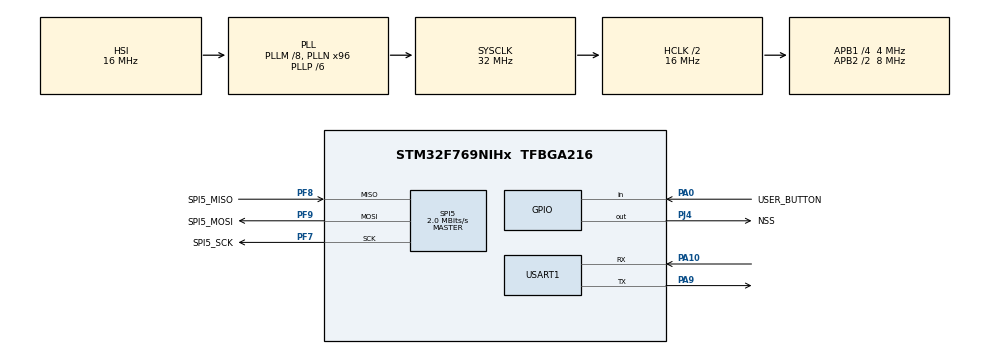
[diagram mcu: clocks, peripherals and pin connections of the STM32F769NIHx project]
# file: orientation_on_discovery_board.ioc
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Mcu.Family=STM32F7
Mcu.Name=STM32F769NIHx
Mcu.Package=TFBGA216
NVIC.PriorityGroup=NVIC_PRIORITYGROUP_4
PA0/WKUP.GPIO_Label=USER_BUTTON
PA0/WKUP.Signal=GPIO_Input
PA10.Mode=Asynchronous
PA10.Signal=USART1_RX
PA9.Mode=Asynchronous
PA9.Signal=USART1_TX
PB14.GPIO_Label=SPI2_MISO
PB14.Signal=SPI2_MISO
PB15.GPIO_Label=SPI2_MOSI
PB15.Signal=SPI2_MOSI
PF7.GPIO_Label=SPI5_SCK
PF7.Mode=Full_Duplex_Master
PF7.Signal=SPI5_SCK
PF8.GPIO_Label=SPI5_MISO
PF8.Mode=Full_Duplex_Master
PF8.Signal=SPI5_MISO
PF9.GPIO_Label=SPI5_MOSI
PF9.Mode=Full_Duplex_Master
PF9.Signal=SPI5_MOSI
PJ4.GPIO_Label=NSS
PJ4.PinState=GPIO_PIN_SET
PJ4.Signal=GPIO_Output
ProjectManager.HeapSize=0x200
ProjectManager.StackSize=0x400
ProjectManager.TargetToolchain=STM32CubeIDE
RCC.AHBCLKDivider=RCC_SYSCLK_DIV2
RCC.AHBFreq_Value=16000000
RCC.APB1CLKDivider=RCC_HCLK_DIV4
RCC.APB1Freq_Value=4000000
RCC.APB1TimFreq_Value=8000000
RCC.APB2CLKDivider=RCC_HCLK_DIV2
RCC.APB2Freq_Value=8000000
RCC.APB2TimFreq_Value=16000000
RCC.CortexFreq_Value=16000000
RCC.HCLKFreq_Value=16000000
RCC.HSE_VALUE=25000000
RCC.HSI_VALUE=16000000
RCC.LSE_VALUE=32768
RCC.PLLM=8
RCC.PLLN=96
RCC.PLLP=RCC_PLLP_DIV6
RCC.PLLQ=4
RCC.PLLSAIQ=3
RCC.SYSCLKFreq_VALUE=32000000
RCC.SYSCLKSource=RCC_SYSCLKSOURCE_PLLCLK
RCC.USBFreq_Value=48000000
RCC.VCOOutputFreq_Value=192000000
SPI5.BaudRatePrescaler=SPI_BAUDRATEPRESCALER_4
SPI5.CalculateBaudRate=2.0 MBits/s
SPI5.DataSize=SPI_DATASIZE_8BIT
SPI5.Direction=SPI_DIRECTION_2LINES
SPI5.Mode=SPI_MODE_MASTER
SPI5.VirtualType=VM_MASTER
USART1.VirtualMode-Asynchronous=VM_ASYNC
board=STM32F769I-DISCO

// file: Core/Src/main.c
/* USER CODE BEGIN Header */
/**
  ******************************************************************************
  * @file           : main.c
  * @brief          : Main program body
  ******************************************************************************
  * @attention
  *
  * Copyright (c) 2022 STMicroelectronics.
  * All rights reserved.
  *
  * This software is licensed under terms that can be found in the LICENSE file
  * in the root directory of this software component.
  * If no LICENSE file comes with this software, it is provided AS-IS.
  *
  ******************************************************************************
  */
/* USER CODE END Header */
#include "main.h"
#include "spi.h"
#include "usart.h"
#include "gpio.h"

/* USER CODE BEGIN Includes */
#include "icm20948.h"
#include "orientation_bsp.h"
#include<stdio.h>
/* USER CODE END Includes */

void SystemClock_Config(void);

int main(void)
{
  /* USER CODE BEGIN 1 */
	int test;
  /* USER CODE END 1 */

  /* MCU Configuration--------------------------------------------------------*/

  /* Reset of all peripherals, Initializes the Flash interface and the Systick. */
  HAL_Init();

  /* Configure the system clock */
  SystemClock_Config();

  /* Initialize all configured peripherals */
  MX_GPIO_Init();
  MX_USART1_UART_Init();
  MX_SPI5_Init();
  /* USER CODE BEGIN 2 */

  	  icm_hd_mvmt_init();

  /* USER CODE END 2 */

  /* Infinite loop */
  while (1)
  {

    /* USER CODE BEGIN 3 */

	  test = icm_hd_mvmt_process();
	  if(test != 404)
	  {
	  printf("\r\ndegree -> %d", test);
	  }
	  HAL_Delay(100);

  }
  /* USER CODE END 3 */
}

void SystemClock_Config(void)
{
  RCC_OscInitTypeDef RCC_OscInitStruct = {0};
  RCC_ClkInitTypeDef RCC_ClkInitStruct = {0};

  /** Configure the main internal regulator output voltage
  */
  __HAL_RCC_PWR_CLK_ENABLE();
  __HAL_PWR_VOLTAGESCALING_CONFIG(PWR_REGULATOR_VOLTAGE_SCALE3);

  /** Initializes the RCC Oscillators according to the specified parameters
  * in the RCC_OscInitTypeDef structure.
  */
  RCC_OscInitStruct.OscillatorType = RCC_OSCILLATORTYPE_HSI;
  RCC_OscInitStruct.HSIState = RCC_HSI_ON;
  RCC_OscInitStruct.HSICalibrationValue = RCC_HSICALIBRATION_DEFAULT;
  RCC_OscInitStruct.PLL.PLLState = RCC_PLL_ON;
  RCC_OscInitStruct.PLL.PLLSource = RCC_PLLSOURCE_HSI;
  RCC_OscInitStruct.PLL.PLLM = 8;
  RCC_OscInitStruct.PLL.PLLN = 96;
  RCC_OscInitStruct.PLL.PLLP = RCC_PLLP_DIV6;
  RCC_OscInitStruct.PLL.PLLQ = 4;
  RCC_OscInitStruct.PLL.PLLR = 2;
  if (HAL_RCC_OscConfig(&RCC_OscInitStruct) != HAL_OK)
  {
    Error_Handler();
  }

  /** Initializes the CPU, AHB and APB buses clocks
  */
  RCC_ClkInitStruct.ClockType = RCC_CLOCKTYPE_HCLK|RCC_CLOCKTYPE_SYSCLK
                              |RCC_CLOCKTYPE_PCLK1|RCC_CLOCKTYPE_PCLK2;
  RCC_ClkInitStruct.SYSCLKSource = RCC_SYSCLKSOURCE_PLLCLK;
  RCC_ClkInitStruct.AHBCLKDivider = RCC_SYSCLK_DIV2;
  RCC_ClkInitStruct.APB1CLKDivider = RCC_HCLK_DIV4;
  RCC_ClkInitStruct.APB2CLKDivider = RCC_HCLK_DIV2;

  if (HAL_RCC_ClockConfig(&RCC_ClkInitStruct, FLASH_LATENCY_0) != HAL_OK)
  {
    Error_Handler();
  }
}

/* USER CODE BEGIN 4 */
#ifdef __GNUC__
  /* With GCC, small printf (option LD Linker->Libraries->Small printf
     set to 'Yes') calls __io_putchar() */
int __io_putchar(int ch)
#else
int fputc(int ch, FILE *f)
#endif /* __GNUC__ */
{
  /* Place your implementation of fputc here */
  /* e.g. write a character to the UART3 and Loop until the end of transmission */
  HAL_UART_Transmit(&huart1, (uint8_t *)&ch, 1, HAL_MAX_DELAY);

  return ch;
}
/* USER CODE END 4 */

void Error_Handler(void)
{
  __disable_irq();
  while (1)
  {
  }
}
